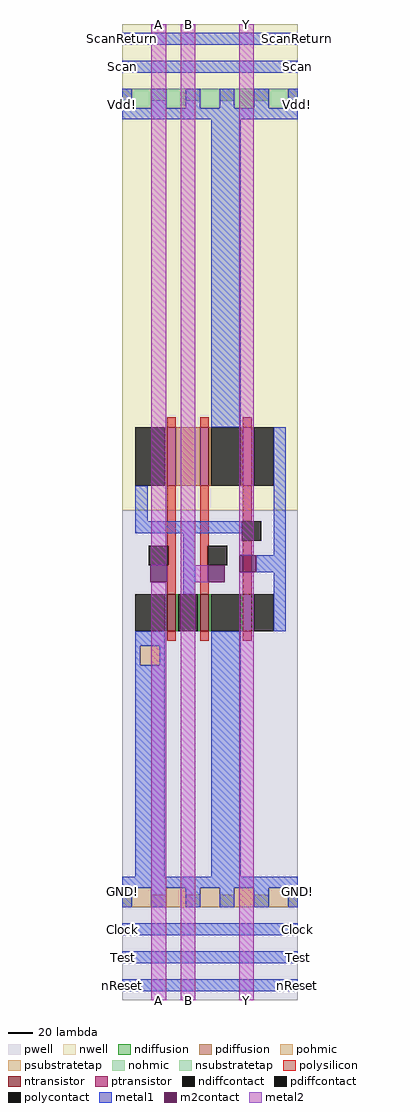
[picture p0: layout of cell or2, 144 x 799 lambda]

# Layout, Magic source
magic
tech c035u
<< nwell >>
rect 0 401 144 799
<< pwell >>
rect 0 0 144 401
<< polysilicon >>
rect 37 469 44 477
rect 64 469 71 477
rect 99 469 106 477
rect 37 372 44 421
rect 38 356 44 372
rect 37 332 44 356
rect 64 372 71 421
rect 99 392 106 421
rect 64 356 70 372
rect 64 332 71 356
rect 99 332 106 376
rect 37 294 44 302
rect 64 294 71 302
rect 99 294 106 302
<< ndiffusion >>
rect 35 302 37 332
rect 44 302 46 332
rect 62 302 64 332
rect 71 302 73 332
rect 97 302 99 332
rect 106 302 108 332
<< pdiffusion >>
rect 35 421 37 469
rect 44 421 64 469
rect 71 421 73 469
rect 97 421 99 469
rect 106 421 108 469
<< pohmic >>
rect 0 76 8 86
rect 24 76 36 86
rect 52 76 64 86
rect 80 76 92 86
rect 108 76 120 86
rect 136 76 144 86
<< nohmic >>
rect 0 736 8 746
rect 24 736 36 746
rect 52 736 64 746
rect 80 736 92 746
rect 108 736 120 746
rect 136 736 144 746
<< ntransistor >>
rect 37 302 44 332
rect 64 302 71 332
rect 99 302 106 332
<< ptransistor >>
rect 37 421 44 469
rect 64 421 71 469
rect 99 421 106 469
<< polycontact >>
rect 22 356 38 372
rect 98 376 114 392
rect 70 356 86 372
<< ndiffcontact >>
rect 11 302 35 332
rect 46 302 62 332
rect 73 302 97 332
rect 108 302 124 332
<< pdiffcontact >>
rect 11 421 35 469
rect 73 421 97 469
rect 108 421 124 469
<< psubstratetap >>
rect 15 274 31 290
rect 8 76 24 92
rect 36 76 52 92
rect 64 76 80 92
rect 92 76 108 92
rect 120 76 136 92
<< nsubstratetap >>
rect 8 730 24 746
rect 36 730 52 746
rect 64 730 80 746
rect 92 730 108 746
rect 120 730 136 746
<< metal1 >>
rect 0 782 144 792
rect 0 759 144 769
rect 0 730 8 746
rect 24 730 36 746
rect 52 730 64 746
rect 80 730 92 746
rect 108 730 120 746
rect 136 730 144 746
rect 0 721 144 730
rect 73 469 97 721
rect 11 392 21 421
rect 11 382 98 392
rect 50 332 60 382
rect 124 364 134 469
rect 110 350 134 364
rect 124 302 134 350
rect 11 290 35 302
rect 11 274 15 290
rect 31 274 35 290
rect 11 101 35 274
rect 73 101 97 302
rect 0 92 144 101
rect 0 76 8 92
rect 24 76 36 92
rect 52 76 64 92
rect 80 76 92 92
rect 108 76 120 92
rect 136 76 144 92
rect 0 53 144 63
rect 0 30 144 40
rect 0 7 144 17
<< m2contact >>
rect 23 342 37 356
rect 70 342 84 356
rect 96 350 110 364
<< metal2 >>
rect 24 356 36 799
rect 48 356 60 799
rect 96 364 108 799
rect 48 342 70 356
rect 24 0 36 342
rect 48 0 60 342
rect 96 0 108 350
<< labels >>
rlabel metal1 0 7 0 17 3 nReset
rlabel metal1 0 30 0 40 3 Test
rlabel metal1 0 53 0 63 3 Clock
rlabel metal1 0 76 0 101 3 GND!
rlabel metal1 144 76 144 101 7 GND!
rlabel metal1 144 53 144 63 7 Clock
rlabel metal1 144 30 144 40 7 Test
rlabel metal1 144 7 144 17 7 nReset
rlabel metal2 24 0 36 0 1 A
rlabel metal2 48 0 60 0 1 B
rlabel metal2 96 0 108 0 1 Y
rlabel metal1 0 721 0 746 3 Vdd!
rlabel metal1 0 782 0 792 3 ScanReturn
rlabel metal1 0 759 0 769 3 Scan
rlabel metal1 144 721 144 746 1 Vdd!
rlabel metal1 144 759 144 769 1 Scan
rlabel metal1 144 782 144 792 1 ScanReturn
rlabel metal2 24 799 36 799 5 A
rlabel metal2 48 799 60 799 5 B
rlabel metal2 96 799 108 799 5 Y
<< end >>
